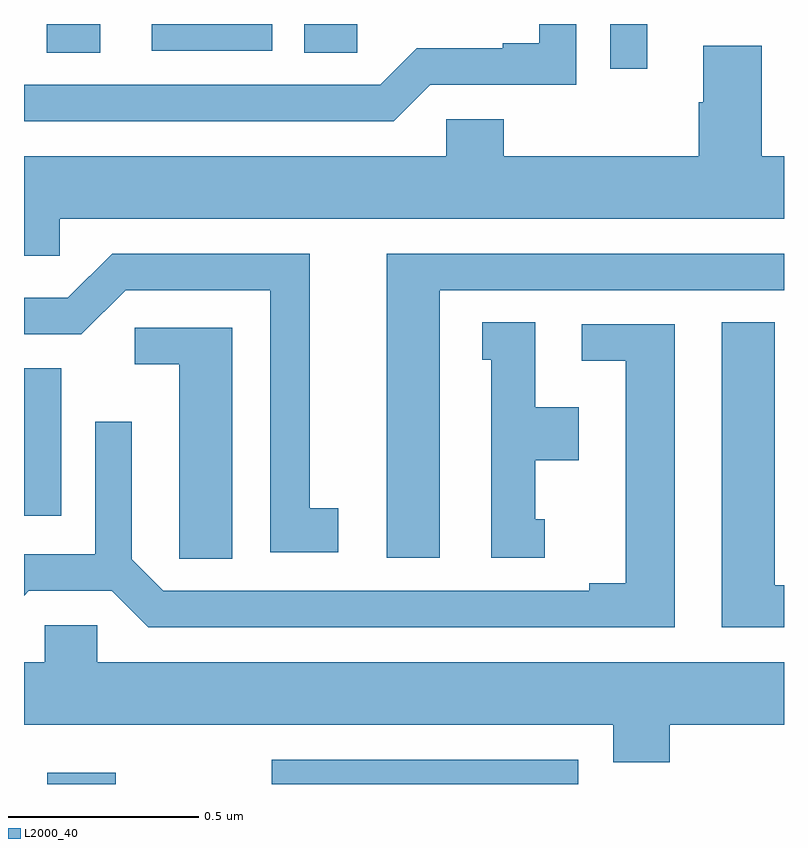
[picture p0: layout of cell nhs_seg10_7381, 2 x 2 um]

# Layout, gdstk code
import gdstk
lib = gdstk.Library(unit=1e-6, precision=1e-09)
def R(c, l, rs):  # rectangles x0, y0, x1, y1
    for r in rs: c.add(gdstk.rectangle(r[:2], r[2:], *l))
def P(c, l, *ps):  # polygons
    for p in ps: c.add(gdstk.Polygon(p, *l))
L2000_40 = (2000, 40)

nhs_seg10_7381 = lib.new_cell('nhs_seg10_7381')
R(nhs_seg10_7381, L2000_40, [(203.061,1293.5,203.242,1293.529), (203.652,1293.5,204.459,1293.564), (203,1294.206,203.098,1294.594), (204.543,1295.382,204.64,1295.5), (203.06,1295.425,203.2,1295.5), (203.738,1295.425,203.877,1295.5), (203.336,1295.429,203.653,1295.5)])
P(nhs_seg10_7381, L2000_40, [(204.069,1295.34),(204.453,1295.34),(204.453,1295.5),(204.356,1295.5),(204.356,1295.449),(204.26,1295.449),(204.26,1295.436),(204.033,1295.436),(203.937,1295.34),(203,1295.34),(203,1295.244),(203.973,1295.244)],
  [(203.094,1294.988),(205,1294.988),(205,1295.152),(204.941,1295.152),(204.941,1295.443),(204.788,1295.443),(204.788,1295.294),(204.776,1295.294),(204.776,1295.152),(204.263,1295.152),(204.263,1295.25),(204.111,1295.25),(204.111,1295.152),(203,1295.152),(203,1294.89),(203.094,1294.89)],
  [(203.827,1294.226),(203.752,1294.226),(203.752,1294.896),(203.232,1294.896),(203.115,1294.779),(203,1294.779),(203,1294.683),(203.151,1294.683),(203.268,1294.8),(203.648,1294.8),(203.648,1294.11),(203.827,1294.11)],
  [(204.094,1294.8),(205,1294.8),(205,1294.896),(203.954,1294.896),(203.954,1294.095),(204.094,1294.095)],
  [(204.37,1294.197),(204.346,1294.197),(204.346,1294.352),(204.46,1294.352),(204.46,1294.492),(204.346,1294.492),(204.346,1294.715),(204.206,1294.715),(204.206,1294.617),(204.23,1294.617),(204.23,1294.095),(204.37,1294.095)],
  [(205,1294.023),(204.976,1294.023),(204.976,1294.715),(204.836,1294.715),(204.836,1293.912),(205,1293.912)],
  [(204.712,1294.71),(204.468,1294.71),(204.468,1294.614),(204.584,1294.614),(204.584,1294.028),(204.488,1294.028),(204.488,1294.008),(203.367,1294.008),(203.283,1294.092),(203.283,1294.453),(203.187,1294.453),(203.187,1294.104),(203,1294.104),(203,1293.995),(203.013,1294.008),(203.231,1294.008),(203.327,1293.912),(204.712,1293.912)],
  [(203.548,1294.701),(203.292,1294.701),(203.292,1294.604),(203.408,1294.604),(203.408,1294.201),(203.409,1294.201),(203.409,1294.093),(203.548,1294.093)],
  [(204.699,1293.656),(205,1293.656),(205,1293.82),(203.193,1293.82),(203.193,1293.918),(203.055,1293.918),(203.055,1293.82),(203,1293.82),(203,1293.656),(204.551,1293.656),(204.551,1293.557),(204.699,1293.557)])

lib.write_gds('nhs_seg10_7381.gds')
